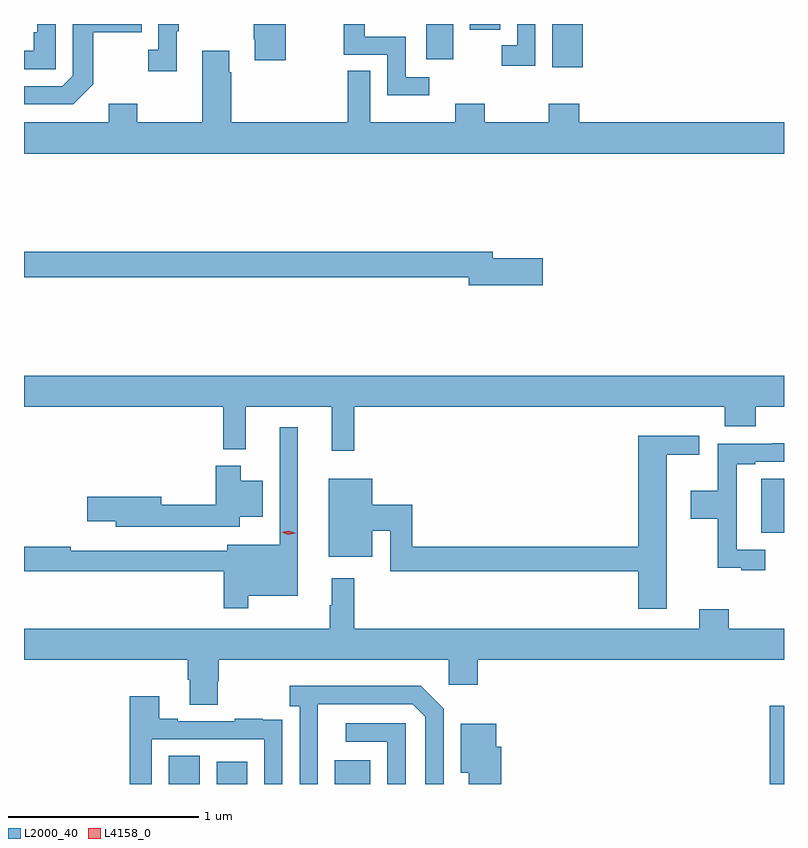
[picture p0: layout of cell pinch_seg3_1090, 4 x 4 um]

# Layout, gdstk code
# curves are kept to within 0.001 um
import gdstk
lib = gdstk.Library(unit=1e-6, precision=1e-09)
def R(c, l, rs):  # rectangles x0, y0, x1, y1
    for r in rs: c.add(gdstk.rectangle(r[:2], r[2:], *l))
def P(c, l, *ps):  # polygons
    for p in ps: c.add(gdstk.Polygon(p, *l))
L2000_40 = (2000, 40)
L4158_0 = (4158, 0)

pinch_seg3_1090 = lib.new_cell('pinch_seg3_1090')
R(pinch_seg3_1090, L2000_40, [(346.25,692.27,346.414,692.42), (346.502,692.27,346.663,692.386), (347.123,692.27,347.311,692.395), (349.414,692.27,349.488,692.683), (349.367,693.593,349.488,693.877), (348.269,696.042,348.43,696.27), (347.606,696.084,347.746,696.27), (347.834,696.24,347.995,696.27), (349.294,696.268,349.488,696.27)])
P(pinch_seg3_1090, L2000_40, [(346.866,696.27),(346.696,696.27),(346.696,696.19),(346.703,696.19),(346.703,696.078),(346.866,696.078)],
  [(348.18,696.27),(348.084,696.27),(348.084,696.159),(348.003,696.159),(348.003,696.051),(348.18,696.051)],
  [(345.853,695.953),(345.853,696.226),(346.109,696.226),(346.109,696.27),(345.744,696.27),(345.744,695.997),(345.69,695.943),(345.488,695.943),(345.488,695.847),(345.747,695.847)],
  [(347.62,695.991),(347.496,695.991),(347.496,696.204),(347.281,696.204),(347.281,696.27),(347.17,696.27),(347.17,696.108),(347.4,696.108),(347.4,695.894),(347.62,695.894)],
  [(345.654,696.27),(345.558,696.27),(345.558,696.226),(345.538,696.226),(345.538,696.129),(345.488,696.129),(345.488,696.033),(345.654,696.033)],
  [(346.291,696.233),(346.303,696.233),(346.303,696.27),(346.194,696.27),(346.194,696.134),(346.143,696.134),(346.143,696.021),(346.291,696.021)],
  [(349.488,695.752),(348.41,695.752),(348.41,695.851),(348.25,695.851),(348.25,695.752),(347.913,695.752),(347.913,695.851),(347.758,695.851),(347.758,695.752),(347.311,695.752),(347.311,696.023),(347.193,696.023),(347.193,695.752),(346.58,695.752),(346.58,696.017),(346.567,696.017),(346.567,696.13),(346.427,696.13),(346.427,695.752),(346.083,695.752),(346.083,695.851),(345.935,695.851),(345.935,695.752),(345.488,695.752),(345.488,695.588),(349.488,695.588)],
  [(348.217,695.036),(347.956,695.036),(347.956,695.072),(345.488,695.072),(345.488,694.936),(347.828,694.936),(347.828,694.894),(348.217,694.894)],
  [(347.225,694.256),(349.175,694.256),(349.175,694.154),(349.34,694.154),(349.34,694.256),(349.488,694.256),(349.488,694.42),(345.488,694.42),(345.488,694.256),(346.537,694.256),(346.537,694.031),(346.655,694.031),(346.655,694.256),(347.108,694.256),(347.108,694.023),(347.225,694.023)],
  [(346.669,693.26),(346.93,693.26),(346.93,694.147),(346.833,694.147),(346.833,693.529),(346.559,693.529),(346.559,693.498),(345.734,693.498),(345.734,693.518),(345.488,693.518),(345.488,693.39),(346.54,693.39),(346.54,693.195),(346.669,693.195)],
  [(348.871,694.004),(349.042,694.004),(349.042,694.102),(348.722,694.102),(348.722,693.518),(347.531,693.518),(347.531,693.74),(347.32,693.74),(347.32,693.877),(347.093,693.877),(347.093,693.467),(347.32,693.467),(347.32,693.604),(347.415,693.604),(347.415,693.39),(348.722,693.39),(348.722,693.192),(348.871,693.192)],
  [(349.39,693.504),(349.239,693.504),(349.239,693.954),(349.336,693.954),(349.336,693.966),(349.488,693.966),(349.488,694.064),(349.423,694.064),(349.423,694.062),(349.138,694.062),(349.138,693.814),(348.996,693.814),(348.996,693.667),(349.138,693.667),(349.138,693.407),(349.262,693.407),(349.262,693.396),(349.39,693.396)],
  [(346.624,693.677),(346.744,693.677),(346.744,693.865),(346.63,693.865),(346.63,693.946),(346.496,693.946),(346.496,693.74),(346.21,693.74),(346.21,693.783),(345.822,693.783),(345.822,693.653),(345.971,693.653),(345.971,693.624),(346.624,693.624)],
  [(346.509,692.811),(346.514,692.811),(346.514,692.924),(347.724,692.924),(347.724,692.793),(347.876,692.793),(347.876,692.924),(349.488,692.924),(349.488,693.088),(349.196,693.088),(349.196,693.19),(349.043,693.19),(349.043,693.088),(347.225,693.088),(347.225,693.352),(347.108,693.352),(347.108,693.212),(347.097,693.212),(347.097,693.088),(345.488,693.088),(345.488,692.924),(346.349,692.924),(346.349,692.818),(346.361,692.818),(346.361,692.686),(346.509,692.686)],
  [(347.034,692.491),(347.035,692.691),(347.535,692.691),(347.601,692.625),(347.601,692.27),(347.697,692.27),(347.697,692.667),(347.576,692.788),(346.887,692.788),(346.887,692.678),(346.938,692.678),(346.938,692.27),(347.034,692.27)],
  [(346.161,692.505),(346.752,692.505),(346.752,692.27),(346.848,692.27),(346.848,692.498),(346.847,692.498),(346.847,692.607),(346.745,692.607),(346.745,692.614),(346.597,692.614),(346.597,692.601),(346.297,692.601),(346.297,692.614),(346.201,692.614),(346.201,692.731),(346.045,692.731),(346.045,692.27),(346.161,692.27)],
  [(347.496,692.589),(347.181,692.589),(347.181,692.493),(347.4,692.493),(347.4,692.27),(347.496,692.27)],
  [(347.999,692.466),(347.974,692.466),(347.974,692.587),(347.786,692.587),(347.786,692.33),(347.828,692.33),(347.828,692.27),(347.999,692.27)])
P(pinch_seg3_1090, L4158_0, [(346.879,693.583),(346.844,693.594),(346.843,693.594),(346.844,693.594),(346.879,693.603),(346.914,693.592),(346.915,693.591),(346.914,693.591)])

lib.write_gds('pinch_seg3_1090.gds')
